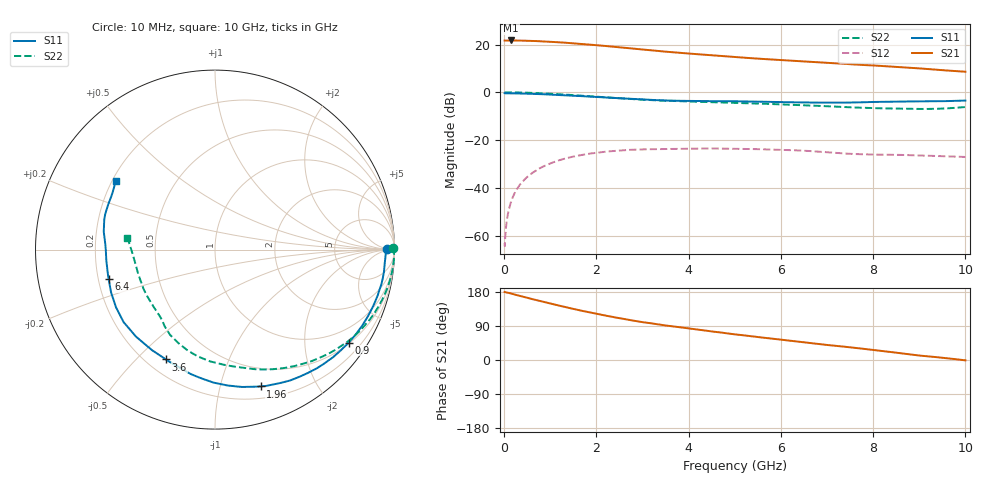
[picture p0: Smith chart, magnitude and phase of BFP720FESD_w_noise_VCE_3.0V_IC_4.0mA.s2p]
! Infineon Technologies  Discrete & RF Semiconductors
! BFP720FESD
! VCE =  3.0 V,  IC =  4.0 mA
! Common Emitter S-Parameters:  Jan 2016
# GHz  S  MA  R  50
!  f  S11  S21  S12  S22
! GHz  MAG  ANG  MAG  ANG  MAG  ANG  MAG  ANG
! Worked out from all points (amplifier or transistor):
!   233 points, 10 MHz to 10 GHz, reference 50 ohm
!   highest |S21| = 21.7 dB at 150 MHz (marker M1)
!   |S21| within 3 dB of that: start of sweep to 2.59 GHz
!   unconditionally stable (mu >= 1): 7.377 GHz to end of sweep
!   at 200 MHz: K = 0.02, MSG = 32.5 dB, |S12| = -43.3 dB
!   at 1.74 GHz: K = 0.16, MSG = 23.1 dB, |S12| = -26.0 dB
!   at 10 GHz: K = 1.53, MAG = 13.5 dB, |S12| = -27.1 dB
!   lowest NFmin = 0.48 dB at 450 MHz
!   S11 on the Smith chart (normalised r, x): 10 MHz: 47, +6; 900 MHz: 0.53, -3.11; 1.96 GHz: 0.31, -1.34; 3.6 GHz: 0.28, -0.61; 6.4 GHz: 0.24, -0.13; 10 GHz: 0.21, +0.30
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0.01  0.9593 0.3  12.16 179.4  0.0007 19.2  0.9924 0.6
0.015  0.9558 -0.2  12.13 179.4  0.0006 51.7  0.9951 0.0
0.055  0.951 -2.1  12.08 178.0  0.002 84.5  0.9984 -1.4
0.15  0.9492 -6.1  12.19 175.3  0.0051 85.5  0.9975 -4.1
0.46  0.9381 -18.0  12.04 165.5  0.0155 78.1  0.9841 -12.5
0.64  0.9266 -25.0  11.87 159.8  0.0214 73.4  0.9704 -17.3
0.9  0.9074 -34.8  11.55 152.1  0.0294 67.0  0.9471 -24.2
1.26  0.8745 -48.1  11.04 141.6  0.0395 58.1  0.905 -33.6
1.68  0.8312 -62.8  10.32 130.0  0.0488 48.3  0.8498 -43.9
1.96  0.8032 -71.6  9.776 123.0  0.0537 42.5  0.8146 -50.4
2.4  0.7608 -84.6  8.971 112.5  0.0596 34.2  0.7625 -60.0
2.78  0.7237 -95.3  8.277 104.3  0.0628 27.6  0.7209 -67.9
3  0.7066 -101.0  7.892 99.9  0.064 24.1  0.7005 -71.9
3.4  0.6787 -109.8  7.245 93.0  0.0649 19.3  0.6722 -77.8
3.6  0.6702 -114.0  6.969 89.7  0.0654 17.1  0.6612 -80.5
4.5  0.6549 -132.2  5.98 75.4  0.0668 8.3  0.6237 -92.4
5.1  0.6467 -143.2  5.403 66.4  0.0657 2.8  0.5988 -100.2
6.4  0.615 -164.4  4.499 48.2  0.0605 -6.9  0.541 -116.4
6.8  0.609 -170.9  4.254 42.6  0.0574 -8.9  0.5213 -120.9
8.4  0.6391 164.9  3.465 20.8  0.0493 -6.8  0.4581 -146.5
9  0.646 157.0  3.171 11.8  0.0477 -6.9  0.449 -162.1
10  0.6722 145.3  2.697 -0.9  0.0443 -4.4  0.4922 172.2
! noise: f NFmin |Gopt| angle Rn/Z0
0.45  0.48  0.63  3  0.17
2.4  0.67  0.42  32  0.16
5.5  0.83  0.43  107  0.11
10  1.44  0.35  -164  0.09
